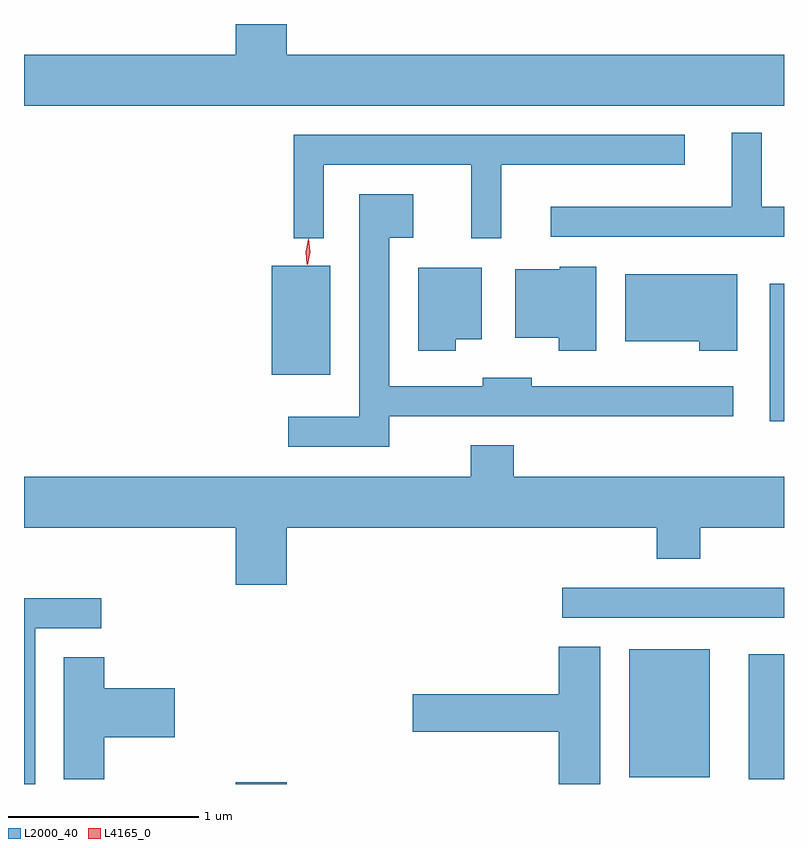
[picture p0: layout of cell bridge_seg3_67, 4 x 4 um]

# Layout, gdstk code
import gdstk
lib = gdstk.Library(unit=1e-6, precision=1e-09)
def R(c, l, rs):  # rectangles x0, y0, x1, y1
    for r in rs: c.add(gdstk.rectangle(r[:2], r[2:], *l))
def P(c, l, *ps):  # polygons
    for p in ps: c.add(gdstk.Polygon(p, *l))
L2000_40 = (2000, 40)
L4165_0 = (4165, 0)

bridge_seg3_67 = lib.new_cell('bridge_seg3_67')
R(bridge_seg3_67, L2000_40, [(1114.176,1217.906,1114.444,1217.914), (1116.876,1217.931,1117.061,1218.589), (1116.246,1217.941,1116.669,1218.614), (1115.893,1218.781,1117.061,1218.939), (1116.986,1219.816,1117.061,1220.539), (1114.366,1220.061,1114.674,1220.634)])
P(bridge_seg3_67, L2000_40, [(1117.061,1221.744),(1114.444,1221.744),(1114.444,1221.906),(1114.176,1221.906),(1114.176,1221.744),(1113.061,1221.744),(1113.061,1221.476),(1117.061,1221.476)],
  [(1117.061,1220.944),(1116.944,1220.944),(1116.944,1221.333),(1116.786,1221.333),(1116.786,1220.944),(1115.833,1220.944),(1115.833,1220.786),(1117.061,1220.786)],
  [(1114.639,1221.166),(1115.416,1221.166),(1115.416,1220.778),(1115.574,1220.778),(1115.574,1221.166),(1116.538,1221.166),(1116.538,1221.324),(1114.481,1221.324),(1114.481,1220.778),(1114.639,1220.778)],
  [(1114.984,1219.841),(1116.793,1219.841),(1116.793,1219.999),(1115.734,1219.999),(1115.734,1220.044),(1115.476,1220.044),(1115.476,1219.999),(1114.984,1219.999),(1114.984,1220.781),(1115.109,1220.781),(1115.109,1221.009),(1114.826,1221.009),(1114.826,1219.839),(1114.453,1219.839),(1114.453,1219.681),(1114.984,1219.681)],
  [(1116.074,1220.629),(1115.88,1220.629),(1115.88,1220.614),(1115.646,1220.614),(1115.646,1220.256),(1115.876,1220.256),(1115.876,1220.186),(1116.074,1220.186)],
  [(1115.334,1220.246),(1115.469,1220.246),(1115.469,1220.624),(1115.136,1220.624),(1115.136,1220.186),(1115.334,1220.186)],
  [(1116.814,1220.589),(1116.226,1220.589),(1116.226,1220.236),(1116.616,1220.236),(1116.616,1220.186),(1116.814,1220.186)],
  [(1114.444,1219.256),(1116.391,1219.256),(1116.391,1219.091),(1116.619,1219.091),(1116.619,1219.256),(1117.061,1219.256),(1117.061,1219.524),(1115.639,1219.524),(1115.639,1219.689),(1115.411,1219.689),(1115.411,1219.524),(1113.061,1219.524),(1113.061,1219.256),(1114.176,1219.256),(1114.176,1218.956),(1114.444,1218.956)],
  [(1113.119,1218.726),(1113.468,1218.726),(1113.468,1218.884),(1113.061,1218.884),(1113.061,1217.906),(1113.119,1217.906)],
  [(1116.094,1218.629),(1115.876,1218.629),(1115.876,1218.379),(1115.106,1218.379),(1115.106,1218.181),(1115.876,1218.181),(1115.876,1217.906),(1116.094,1217.906)],
  [(1113.484,1218.151),(1113.854,1218.151),(1113.854,1218.409),(1113.484,1218.409),(1113.484,1218.574),(1113.271,1218.574),(1113.271,1217.931),(1113.484,1217.931)])
P(bridge_seg3_67, L4165_0, [(1114.554,1220.638),(1114.554,1220.639),(1114.547,1220.707),(1114.56,1220.775),(1114.56,1220.775),(1114.56,1220.775),(1114.567,1220.706),(1114.555,1220.639)],
  [(1114.551,1220.641),(1114.55,1220.642),(1114.544,1220.707),(1114.556,1220.772),(1114.556,1220.772),(1114.557,1220.772),(1114.563,1220.706),(1114.552,1220.642)])

lib.write_gds('bridge_seg3_67.gds')
